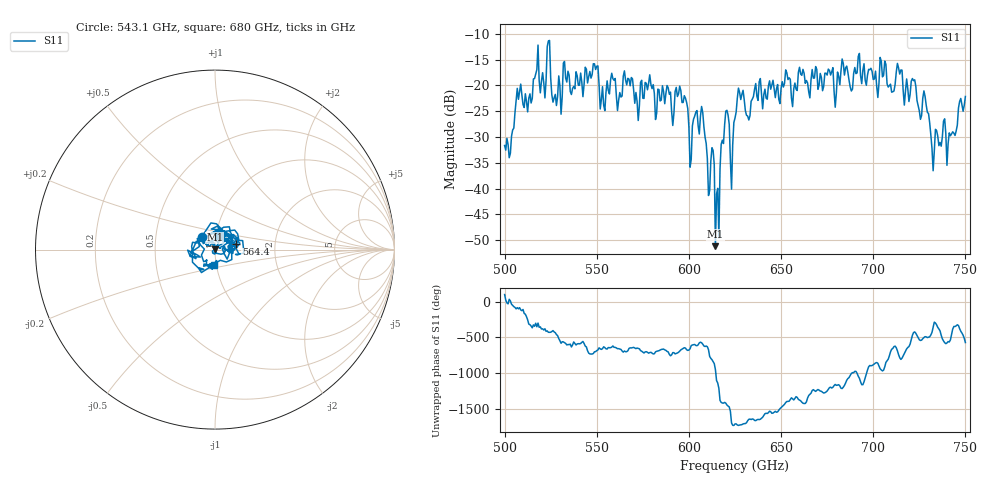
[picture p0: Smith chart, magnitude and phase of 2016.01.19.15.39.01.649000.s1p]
!Created with skrf (http://scikit-rf.org).
# GHz S RI R 50.0
!freq ReS11 ImS11
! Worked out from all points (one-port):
!   401 points, 500 GHz to 750 GHz, reference 50 ohm
!   lowest |S11| = -51.2 dB at 614.4 GHz (marker M1), VSWR 1.01, Z = 49.8 + j0.218 ohm
!   |S11| at or under -10 dB: start of sweep to end of sweep
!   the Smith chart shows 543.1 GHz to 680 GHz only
!   S11 on the Smith chart (normalised r, x): 543.1 GHz: 0.86, +0.13; 564.4 GHz: 1.27, +0.08; 680 GHz: 0.97, -0.17
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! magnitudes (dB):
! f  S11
! 500 GHz  -31.6
! 516.9 GHz  -17.8
! 531.2 GHz  -22.2
! 543.1 GHz  -19.8
! 549.4 GHz  -16.9
! 553.1 GHz  -20.2
! 558.8 GHz  -18.7
! 562.5 GHz  -21.4
! 564.4 GHz  -18.2
! 593.8 GHz  -22.1
! 601.2 GHz  -34.3
! 607.5 GHz  -25.2
! 614.4 GHz  -51.2
! 615.6 GHz  -39.9
! 620 GHz  -25.0
! 623.1 GHz  -40.1
! 625 GHz  -26.3
! 628.1 GHz  -22.7
! 631.9 GHz  -25.9
! 637.5 GHz  -22.9
! 656.2 GHz  -24.1
! 680 GHz  -21.5
! 687.5 GHz  -20.3
! 705 GHz  -18.3
! 718.8 GHz  -20.6
! 728.1 GHz  -22.1
! 732.5 GHz  -36.5
! 750 GHz  -22.1
